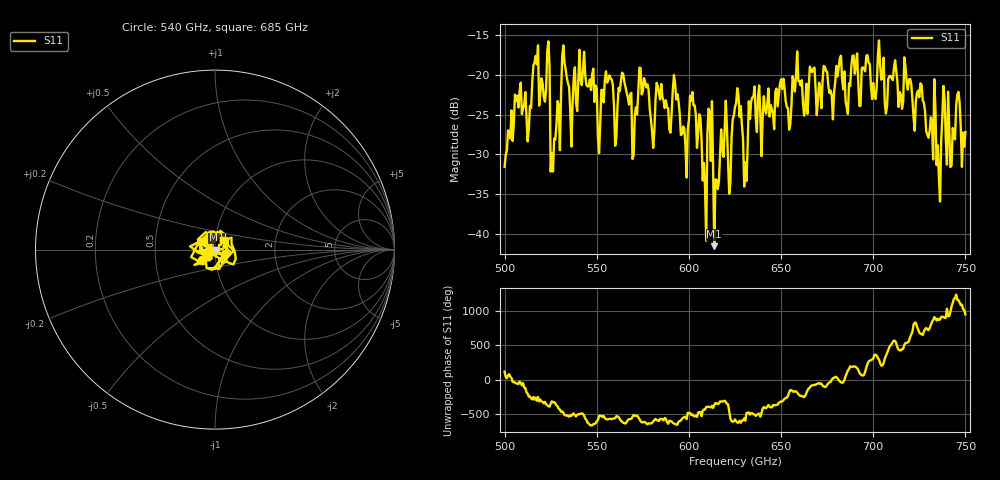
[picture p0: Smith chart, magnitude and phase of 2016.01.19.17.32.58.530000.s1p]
!Created with skrf (http://scikit-rf.org).
# GHz S RI R 50.0
!freq ReS11 ImS11
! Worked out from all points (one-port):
!   401 points, 500 GHz to 750 GHz, reference 50 ohm
!   lowest |S11| = -41.5 dB at 613.8 GHz (marker M1), VSWR 1.02, Z = 50.8 - j0.109 ohm
!   |S11| at or under -10 dB: start of sweep to end of sweep
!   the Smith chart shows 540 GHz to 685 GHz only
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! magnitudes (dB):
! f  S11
! 500 GHz  -31.5
! 507.5 GHz  -24.1
! 513.1 GHz  -26.8
! 516.9 GHz  -17.7
! 523.1 GHz  -17.1
! 526.2 GHz  -32.1
! 531.2 GHz  -17.7
! 551.9 GHz  -26.2
! 562.5 GHz  -22.1
! 570.6 GHz  -25.1
! 574.4 GHz  -22.5
! 580 GHz  -27.1
! 593.8 GHz  -22.4
! 597.5 GHz  -26.8
! 601.9 GHz  -22.2
! 608.1 GHz  -31.1
! 611.2 GHz  -24.7
! 613.8 GHz  -41.5
! 622.5 GHz  -33.5
! 625 GHz  -24.1
! 630.6 GHz  -31.0
! 634.4 GHz  -22.9
! 656.2 GHz  -20.2
! 687.5 GHz  -21.4
! 718.8 GHz  -21.9
! 735.6 GHz  -32.8
! 738.1 GHz  -21.4
! 750 GHz  -27.2
